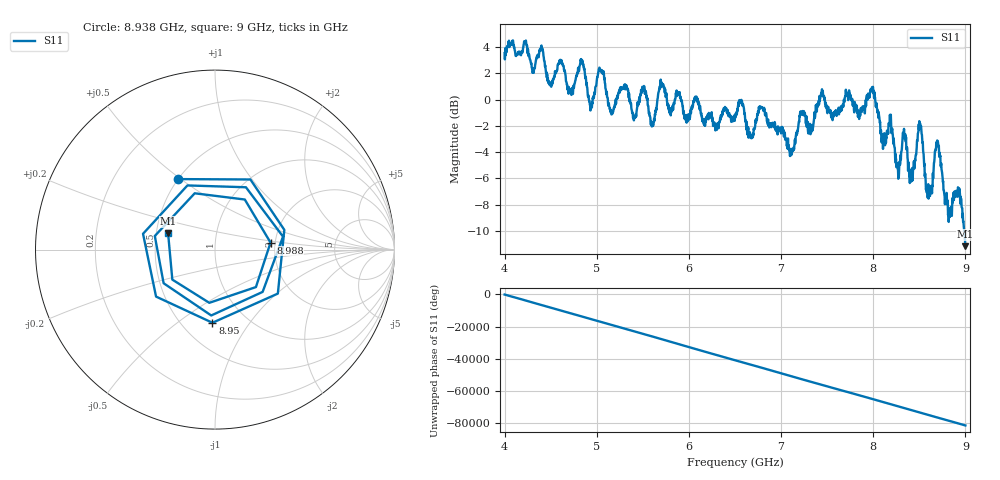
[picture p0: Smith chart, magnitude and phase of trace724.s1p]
! Created with skrf 1.8.0 (http://scikit-rf.org).
# Hz S RI R 50.0
!freq ReS11 ImS11
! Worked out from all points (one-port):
!   1601 points, 4 GHz to 9 GHz, reference 50 ohm
!   lowest |S11| = -11.2 dB at 9 GHz (marker M1), VSWR 1.76, Z = 28.9 + j5.65 ohm
!   |S11| at or under -10 dB: 8.986613 GHz to end of sweep
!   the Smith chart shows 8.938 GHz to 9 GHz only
!   S11 on the Smith chart (normalised r, x): 8.938 GHz: 0.50, +0.49; 8.95 GHz: 0.70, -0.68; 8.988 GHz: 1.89, +0.16; 9 GHz: 0.58, +0.11
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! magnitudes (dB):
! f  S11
! 4 GHz  3.5
! 4.625 GHz  2.8
! 4.716 GHz  0.5
! 4.841 GHz  2.8
! 4.938 GHz  -0.5
! 5.038 GHz  2.3
! 5.153 GHz  -1.0
! 5.25 GHz  0.7
! 5.516 GHz  1.0
! 5.603 GHz  -2.0
! 5.7 GHz  1.2
! 5.875 GHz  0.6
! 6.5 GHz  -1.1
! 7.125 GHz  -3.9
! 7.441 GHz  0.3
! 7.75 GHz  0.3
! 7.991 GHz  0.9
! 8.106 GHz  -3.8
! 8.375 GHz  -4.6
! 8.422 GHz  -5.2
! 8.509 GHz  -1.8
! 8.594 GHz  -7.1
! 8.694 GHz  -3.1
! 8.828 GHz  -8.7
! 8.938 GHz  -7.0
! 8.95 GHz  -7.8
! 8.988 GHz  -10.1
! 9 GHz  -11.2
